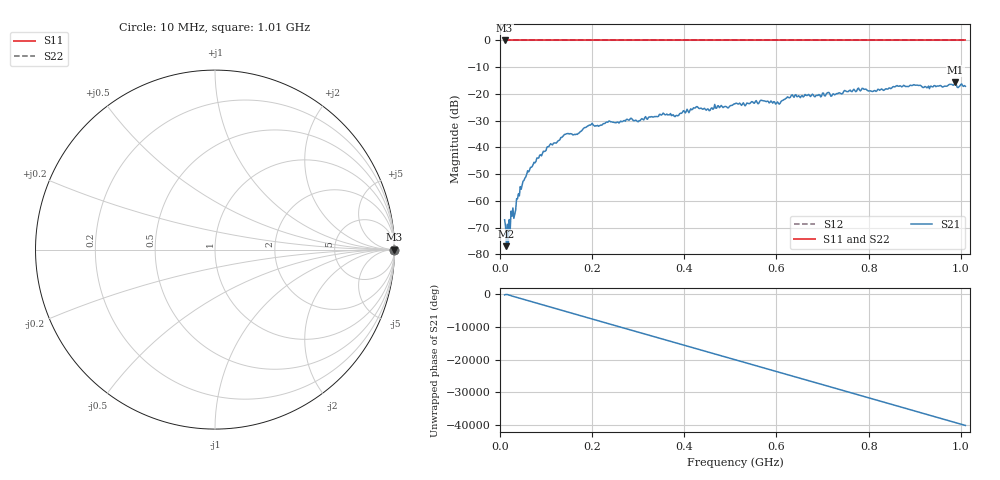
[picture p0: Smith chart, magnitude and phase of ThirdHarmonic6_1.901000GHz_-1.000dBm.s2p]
! 8/16/2025 10:56:49 PM
! C:\ANRITSUVNA\TEMP\TEMP.S2P
! CHANNEL.1
! TR.MEASUREMENT
! RAW.DATA
! RF.CORRECTION.OFF
! AVERAGING.OFF
! IF.BANDWIDTH: 5KHZ
! SWEEPTYPE:  FREQ.SWEEP(Linear)
! Reference Plane Port Info
! PORT:  PORT1  PORT2
! DISTANCE:  0  m  0  m
! TIME:  0  s  0  s
! PHASE.OFFSET:  0  deg.  0  deg.
! LOSS:  0  dB  0  dB
! REF.LOSS:  0  dB  0  dB
! REF.FREQ:  0  Hz  0  Hz
! Power Info
! POWER:  -20  dBm  -20  dBm
! EFF.POWER:  -20  dBm  -20  dBm
! SOURCE.ATTEN:  0  dB  0  dB
! TEST.ATTEN:  0  dB  0  dB
# GHZ S RI R 50.0
! FREQ.GHZ  S11RE  S11IM  S21RE  S21IM  S12RE  S12IM  S22RE  S22IM
!; PortSelection: Port_12
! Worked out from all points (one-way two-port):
!   501 points, 10 MHz to 1.01 GHz, reference 50 ohm
!   highest |S21| = -15.72 dB at 988 MHz (marker M1); lowest = -76.9 dB at 14 MHz (marker M2)
!   lowest |S11| = 0.0 dB at 10 MHz (marker M3)
!   |S11| at or under -10 dB: nowhere
!   |S22| runs from 0.0 to 0.0 dB; largest |S21 - S12| = 1.1
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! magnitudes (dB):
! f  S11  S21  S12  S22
! 10 MHz  0.0  -67.1  0.0  0.0
! 14 MHz  0.0  -76.9  0.0  0.0
! 18 MHz  0.0  -76.4  0.0  0.0
! 24 MHz  0.0  -63.8  0.0  0.0
! 34 MHz  0.0  -63.4  0.0  0.0
! 40 MHz  0.0  -57.4  0.0  0.0
! 48 MHz  0.0  -54.1  0.0  0.0
! 78 MHz  0.0  -45.2  0.0  0.0
! 106 MHz  0.0  -39.6  0.0  0.0
! 140 MHz  0.0  -35.2  0.0  0.0
! 178 MHz  0.0  -33.7  0.0  0.0
! 196 MHz  0.0  -31.7  0.0  0.0
! 344 MHz  0.0  -28.4  0.0  0.0
! 382 MHz  0.0  -28.1  0.0  0.0
! 424 MHz  0.0  -25.2  0.0  0.0
! 510 MHz  0.0  -23.7  0.0  0.0
! 602 MHz  0.0  -23.0  0.0  0.0
! 636 MHz  0.0  -20.8  0.0  0.0
! 678 MHz  0.0  -20.1  0.0  0.0
! 844 MHz  0.0  -17.8  0.0  0.0
! 988 MHz  0.0  -15.7  0.0  0.0
! 1.01 GHz  0.0  -17.1  0.0  0.0
